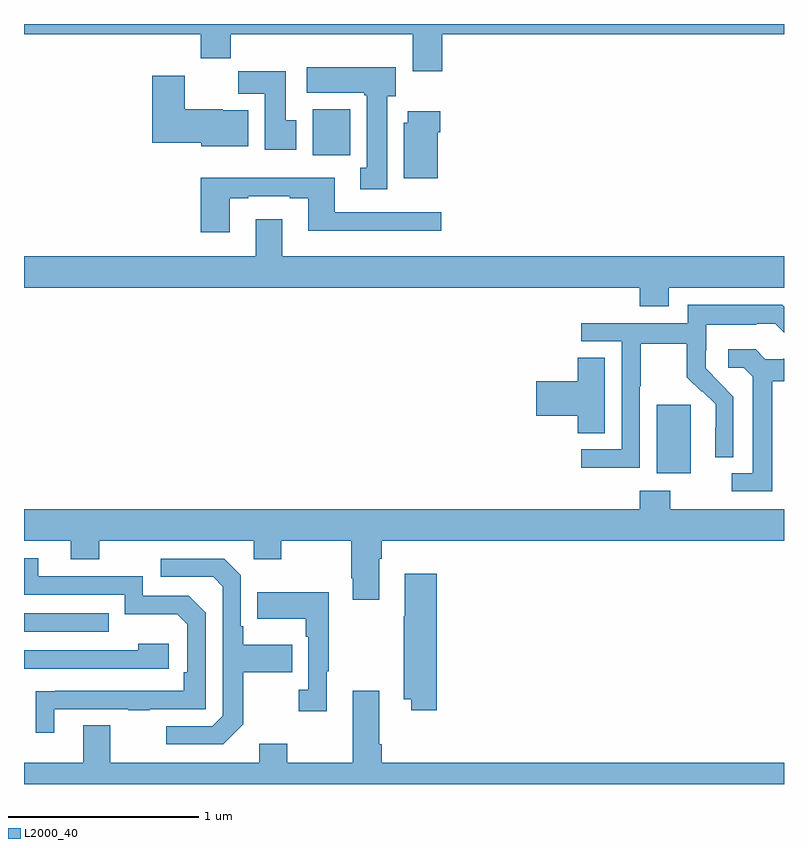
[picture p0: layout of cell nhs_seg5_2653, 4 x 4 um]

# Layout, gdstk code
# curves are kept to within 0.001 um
import gdstk
lib = gdstk.Library(unit=1e-6, precision=1e-09)
def R(c, l, rs):  # rectangles x0, y0, x1, y1
    for r in rs: c.add(gdstk.rectangle(r[:2], r[2:], *l))
def P(c, l, *ps):  # polygons
    for p in ps: c.add(gdstk.Polygon(p, *l))
L2000_40 = (2000, 40)

nhs_seg5_2653 = lib.new_cell('nhs_seg5_2653')
R(nhs_seg5_2653, L2000_40, [(265,869.601,265.445,869.697), (268.331,870.434,268.51,870.795), (266.519,872.108,266.716,872.35)])
P(nhs_seg5_2653, L2000_40, [(265,872.744),(265.931,872.744),(265.931,872.62),(266.087,872.62),(266.087,872.744),(267.047,872.744),(267.047,872.55),(267.2,872.55),(267.2,872.744),(269,872.744),(269,872.799),(265,872.799)],
  [(266.911,872.418),(266.956,872.418),(266.956,872.572),(266.487,872.572),(266.487,872.438),(266.791,872.438),(266.791,872.425),(266.804,872.425),(266.804,872.042),(266.771,872.042),(266.771,871.929),(266.911,871.929)],
  [(266.434,872.292),(266.377,872.292),(266.377,872.551),(266.128,872.551),(266.128,872.432),(266.267,872.432),(266.267,872.136),(266.434,872.136)],
  [(266.179,872.344),(266.046,872.344),(266.046,872.35),(265.846,872.35),(265.846,872.527),(265.676,872.527),(265.676,872.174),(265.932,872.174),(265.932,872.156),(266.179,872.156)],
  [(267.178,872.228),(267.191,872.228),(267.191,872.341),(267.02,872.341),(267.02,872.28),(266.999,872.28),(266.999,871.988),(267.178,871.988)],
  [(266.083,871.881),(266.179,871.881),(266.179,871.893),(266.399,871.893),(266.399,871.881),(266.495,871.881),(266.495,871.712),(267.196,871.712),(267.196,871.809),(266.635,871.809),(266.635,871.99),(265.931,871.99),(265.931,871.704),(266.083,871.704)],
  [(268.393,871.412),(269,871.412),(269,871.576),(266.359,871.576),(266.359,871.771),(266.219,871.771),(266.219,871.576),(265,871.576),(265,871.412),(268.241,871.412),(268.241,871.313),(268.393,871.313)],
  [(268.242,870.892),(268.245,870.892),(268.245,871.116),(268.489,871.116),(268.489,870.941),(268.566,870.864),(268.569,870.867),(268.64,870.797),(268.64,870.674),(268.638,870.674),(268.638,870.52),(268.734,870.52),(268.734,870.838),(268.588,870.986),(268.588,871.083),(268.59,871.083),(268.59,871.217),(268.853,871.217),(268.853,871.221),(268.953,871.221),(269,871.174),(269,871.312),(268.991,871.321),(268.494,871.321),(268.494,871.224),(267.933,871.224),(267.933,871.128),(268.146,871.128),(268.146,870.561),(267.933,870.561),(267.933,870.463),(268.242,870.463)],
  [(268.939,870.92),(269,870.92),(269,871.038),(268.996,871.038),(268.996,871.035),(268.902,871.035),(268.85,871.087),(268.707,871.087),(268.707,870.99),(268.788,870.99),(268.835,870.943),(268.835,870.435),(268.725,870.435),(268.725,870.339),(268.939,870.339)],
  [(268.057,871.043),(267.914,871.043),(267.914,870.92),(267.696,870.92),(267.696,870.737),(267.914,870.737),(267.914,870.646),(268.057,870.646)],
  [(266.869,869.984),(266.882,869.984),(266.882,870.08),(269,870.08),(269,870.244),(268.401,870.244),(268.401,870.343),(268.241,870.343),(268.241,870.244),(265,870.244),(265,870.08),(265.247,870.08),(265.247,869.981),(265.395,869.981),(265.395,870.08),(266.208,870.08),(266.208,869.981),(266.355,869.981),(266.355,870.08),(266.722,870.08),(266.722,869.881),(266.729,869.881),(266.729,869.769),(266.869,869.769)],
  [(265.159,869.193),(265.549,869.193),(265.549,869.188),(265.661,869.188),(265.661,869.193),(265.956,869.193),(265.956,869.7),(265.866,869.79),(265.626,869.79),(265.626,869.892),(265.075,869.892),(265.075,869.988),(265,869.988),(265,869.796),(265.53,869.796),(265.53,869.693),(265.807,869.693),(265.86,869.64),(265.86,869.386),(265.84,869.386),(265.84,869.289),(265.063,869.288),(265.063,869.07),(265.159,869.07)],
  [(266.155,869.113),(266.155,869.386),(266.411,869.386),(266.411,869.533),(266.155,869.533),(266.155,869.629),(266.142,869.629),(266.142,869.898),(266.055,869.985),(265.719,869.985),(265.719,869.889),(265.995,869.889),(266.046,869.838),(266.046,869.157),(265.992,869.103),(265.749,869.103),(265.749,869.007),(266.049,869.007)],
  [(267.173,869.905),(267.005,869.905),(267.005,869.681),(266.998,869.681),(266.998,869.246),(267.038,869.246),(267.038,869.187),(267.173,869.187)],
  [(266.593,869.393),(266.605,869.393),(266.605,869.809),(266.227,869.809),(266.227,869.669),(266.484,869.669),(266.484,869.573),(266.496,869.573),(266.496,869.294),(266.445,869.294),(266.445,869.181),(266.593,869.181)],
  [(265.762,869.536),(265.601,869.536),(265.601,869.502),(265,869.502),(265,869.406),(265.762,869.406)],
  [(269,868.912),(266.882,868.912),(266.882,869.008),(266.869,869.008),(266.869,869.29),(266.729,869.29),(266.729,868.912),(266.385,868.912),(266.385,869.011),(266.237,869.011),(266.237,868.912),(265.453,868.912),(265.453,869.107),(265.313,869.107),(265.313,868.912),(265,868.912),(265,868.799),(269,868.799)])

lib.write_gds('nhs_seg5_2653.gds')
